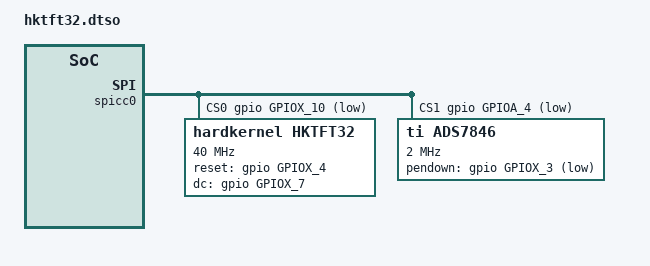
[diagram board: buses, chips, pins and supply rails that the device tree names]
/dts-v1/;
/plugin/;

#include <dt-bindings/gpio/gpio.h>
#include <dt-bindings/gpio/meson-g12a-gpio.h>
#include <dt-bindings/interrupt-controller/irq.h>
#include <dt-bindings/interrupt-controller/amlogic,meson-g12a-gpio-intc.h>

&spicc0 {
	status = "okay";
	num-cs = <2>;
	cs-gpios = <&gpio GPIOX_10 GPIO_ACTIVE_LOW>,
			   <&gpio GPIOA_4 GPIO_ACTIVE_LOW>;

	#address-cells = <1>;
	#size-cells = <0>;

	hktft32: hktft32@0 {
		status = "okay";
		compatible = "hardkernel,hktft32";
		reg = <0>;
		spi-max-frequency = <40000000>;
		rotation = <90>;
		reset-gpios = <&gpio GPIOX_4 GPIO_ACTIVE_HIGH>;
		dc-gpios = <&gpio GPIOX_7 GPIO_ACTIVE_HIGH>;
	};

	ads7846: ads7846@1 {
		status = "okay";
		compatible = "ti,ads7846";
		pinctrl-names = "default";
		pinctrl-0 = <&ads7846_pendown_pins>;

		spi-max-frequency = <2000000>;
		reg = <1>;

		interrupt-parent = <&gpio_intc>;
		interrupts = <IRQID_GPIOX_3 IRQ_TYPE_EDGE_FALLING>;
		pendown-gpio = <&gpio GPIOX_3 GPIO_ACTIVE_LOW>;

		ti,swap-xy;
		ti,x-min = /bits/ 16 <0>;
		ti,x-max = /bits/ 16 <8000>;
		ti,y-min = /bits/ 16 <0>;
		ti,y-max = /bits/ 16 <4800>;
		ti,x-plate-ohms = /bits/ 16 <40>;
		ti,pressure-max = /bits/ 16 <255>;

		linux,wakeup;
	};
};

&periphs_pinctrl {
	ads7846_pendown_pins: ads7846-pendown-pins {
		mux {
			groups = "GPIOX_3";
			function = "gpio_periphs";
			bias-pull-up;
		};
	};
};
